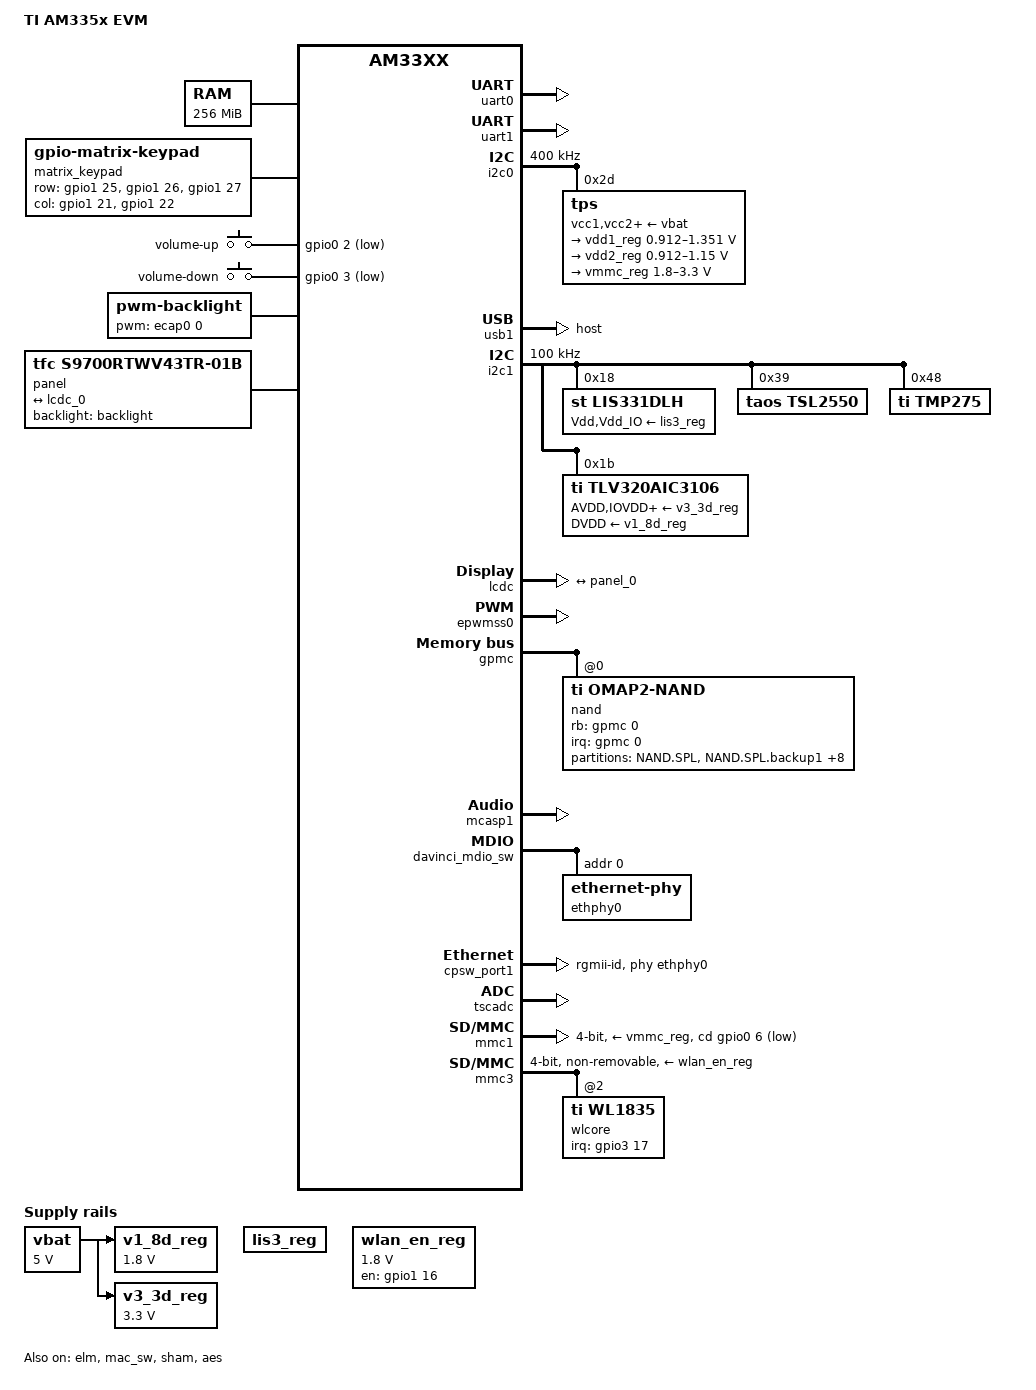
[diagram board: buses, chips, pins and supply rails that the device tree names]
// SPDX-License-Identifier: GPL-2.0-only
/*
 * Copyright (C) 2012 Texas Instruments Incorporated - https://www.ti.com/
 */
/dts-v1/;

#include "am33xx.dtsi"
#include <dt-bindings/interrupt-controller/irq.h>

/ {
	model = "TI AM335x EVM";
	compatible = "ti,am335x-evm", "ti,am33xx";

	cpus {
		cpu@0 {
			cpu0-supply = <&vdd1_reg>;
		};
	};

	memory@80000000 {
		device_type = "memory";
		reg = <0x80000000 0x10000000>; /* 256 MB */
	};

	chosen {
		stdout-path = &uart0;
	};

	vbat: fixedregulator0 {
		compatible = "regulator-fixed";
		regulator-name = "vbat";
		regulator-min-microvolt = <5000000>;
		regulator-max-microvolt = <5000000>;
		regulator-boot-on;
	};

	lis3_reg: fixedregulator1 {
		compatible = "regulator-fixed";
		regulator-name = "lis3_reg";
		regulator-boot-on;
	};

	wlan_en_reg: fixedregulator2 {
		compatible = "regulator-fixed";
		regulator-name = "wlan-en-regulator";
		regulator-min-microvolt = <1800000>;
		regulator-max-microvolt = <1800000>;

		/* WLAN_EN GPIO for this board - Bank1, pin16 */
		gpio = <&gpio1 16 0>;

		/* WLAN card specific delay */
		startup-delay-us = <70000>;
		enable-active-high;
	};

	/* TPS79501 */
	v1_8d_reg: fixedregulator-v1_8d {
		compatible = "regulator-fixed";
		regulator-name = "v1_8d";
		vin-supply = <&vbat>;
		regulator-min-microvolt = <1800000>;
		regulator-max-microvolt = <1800000>;
	};

	/* TPS79501 */
	v3_3d_reg: fixedregulator-v3_3d {
		compatible = "regulator-fixed";
		regulator-name = "v3_3d";
		vin-supply = <&vbat>;
		regulator-min-microvolt = <3300000>;
		regulator-max-microvolt = <3300000>;
	};

	matrix_keypad: matrix_keypad0 {
		compatible = "gpio-matrix-keypad";
		debounce-delay-ms = <5>;
		col-scan-delay-us = <2>;

		row-gpios = <&gpio1 25 GPIO_ACTIVE_HIGH		/* Bank1, pin25 */
			     &gpio1 26 GPIO_ACTIVE_HIGH		/* Bank1, pin26 */
			     &gpio1 27 GPIO_ACTIVE_HIGH>;	/* Bank1, pin27 */

		col-gpios = <&gpio1 21 GPIO_ACTIVE_HIGH		/* Bank1, pin21 */
			     &gpio1 22 GPIO_ACTIVE_HIGH>;	/* Bank1, pin22 */

		linux,keymap = <0x0000008b	/* MENU */
				0x0100009e	/* BACK */
				0x02000069	/* LEFT */
				0x0001006a	/* RIGHT */
				0x0101001c	/* ENTER */
				0x0201006c>;	/* DOWN */
	};

	gpio_keys: volume_keys0 {
		compatible = "gpio-keys";
		#address-cells = <1>;
		#size-cells = <0>;
		autorepeat;

		switch9 {
			label = "volume-up";
			linux,code = <115>;
			gpios = <&gpio0 2 GPIO_ACTIVE_LOW>;
			wakeup-source;
		};

		switch10 {
			label = "volume-down";
			linux,code = <114>;
			gpios = <&gpio0 3 GPIO_ACTIVE_LOW>;
			wakeup-source;
		};
	};

	backlight: backlight {
		compatible = "pwm-backlight";
		pwms = <&ecap0 0 50000 0>;
		brightness-levels = <0 51 53 56 62 75 101 152 255>;
		default-brightness-level = <8>;
	};

	panel {
		compatible = "tfc,s9700rtwv43tr-01b";

		pinctrl-names = "default";
		pinctrl-0 = <&lcd_pins_s0>;
		backlight = <&backlight>;

		port {
			panel_0: endpoint@0 {
				remote-endpoint = <&lcdc_0>;
			};
		};
	};

	sound {
		compatible = "simple-audio-card";
		simple-audio-card,name = "AM335x-EVM";
		simple-audio-card,widgets =
			"Headphone", "Headphone Jack",
			"Line", "Line In";
		simple-audio-card,routing =
			"Headphone Jack",	"HPLOUT",
			"Headphone Jack",	"HPROUT",
			"LINE1L",		"Line In",
			"LINE1R",		"Line In";
		simple-audio-card,format = "dsp_b";
		simple-audio-card,bitclock-master = <&sound_master>;
		simple-audio-card,frame-master = <&sound_master>;
		simple-audio-card,bitclock-inversion;

		simple-audio-card,cpu {
			sound-dai = <&mcasp1>;
		};

		sound_master: simple-audio-card,codec {
			sound-dai = <&tlv320aic3106>;
			system-clock-frequency = <12000000>;
		};
	};
};

&am33xx_pinmux {
	pinctrl-names = "default";
	pinctrl-0 = <&matrix_keypad_s0 &volume_keys_s0 &clkout2_pin>;

	matrix_keypad_s0: matrix_keypad_s0 {
		pinctrl-single,pins = <
			AM33XX_PADCONF(AM335X_PIN_GPMC_A5, PIN_OUTPUT_PULLDOWN, MUX_MODE7)	/* gpmc_a5.gpio1_21 */
			AM33XX_PADCONF(AM335X_PIN_GPMC_A6, PIN_OUTPUT_PULLDOWN, MUX_MODE7)	/* gpmc_a6.gpio1_22 */
			AM33XX_PADCONF(AM335X_PIN_GPMC_A9, PIN_INPUT_PULLDOWN, MUX_MODE7)	/* gpmc_a9.gpio1_25 */
			AM33XX_PADCONF(AM335X_PIN_GPMC_A10, PIN_INPUT_PULLDOWN, MUX_MODE7)	/* gpmc_a10.gpio1_26 */
			AM33XX_PADCONF(AM335X_PIN_GPMC_A11, PIN_INPUT_PULLDOWN, MUX_MODE7)	/* gpmc_a11.gpio1_27 */
		>;
	};

	volume_keys_s0: volume_keys_s0 {
		pinctrl-single,pins = <
			AM33XX_PADCONF(AM335X_PIN_SPI0_SCLK, PIN_INPUT_PULLDOWN, MUX_MODE7)	/* spi0_sclk.gpio0_2 */
			AM33XX_PADCONF(AM335X_PIN_SPI0_D0, PIN_INPUT_PULLDOWN, MUX_MODE7)	/* spi0_d0.gpio0_3 */
		>;
	};

	i2c0_pins: pinmux_i2c0_pins {
		pinctrl-single,pins = <
			AM33XX_PADCONF(AM335X_PIN_I2C0_SDA, PIN_INPUT_PULLUP, MUX_MODE0)	/* i2c0_sda.i2c0_sda */
			AM33XX_PADCONF(AM335X_PIN_I2C0_SCL, PIN_INPUT_PULLUP, MUX_MODE0)	/* i2c0_scl.i2c0_scl */
		>;
	};

	i2c1_pins: pinmux_i2c1_pins {
		pinctrl-single,pins = <
			AM33XX_PADCONF(AM335X_PIN_SPI0_D1, PIN_INPUT_PULLUP, MUX_MODE2)	/* spi0_d1.i2c1_sda */
			AM33XX_PADCONF(AM335X_PIN_SPI0_CS0, PIN_INPUT_PULLUP, MUX_MODE2)	/* spi0_cs0.i2c1_scl */
		>;
	};

	uart0_pins: pinmux_uart0_pins {
		pinctrl-single,pins = <
			AM33XX_PADCONF(AM335X_PIN_UART0_RXD, PIN_INPUT_PULLUP, MUX_MODE0)
			AM33XX_PADCONF(AM335X_PIN_UART0_TXD, PIN_OUTPUT_PULLDOWN, MUX_MODE0)
		>;
	};

	uart1_pins: pinmux_uart1_pins {
		pinctrl-single,pins = <
			AM33XX_PADCONF(AM335X_PIN_UART1_CTSN, PIN_INPUT, MUX_MODE0)
			AM33XX_PADCONF(AM335X_PIN_UART1_RTSN, PIN_OUTPUT_PULLDOWN, MUX_MODE0)
			AM33XX_PADCONF(AM335X_PIN_UART1_RXD, PIN_INPUT_PULLUP, MUX_MODE0)
			AM33XX_PADCONF(AM335X_PIN_UART1_TXD, PIN_OUTPUT_PULLDOWN, MUX_MODE0)
		>;
	};

	clkout2_pin: pinmux_clkout2_pin {
		pinctrl-single,pins = <
			AM33XX_PADCONF(AM335X_PIN_XDMA_EVENT_INTR1, PIN_OUTPUT_PULLDOWN, MUX_MODE3)	/* xdma_event_intr1.clkout2 */
		>;
	};

	nandflash_pins_s0: nandflash_pins_s0 {
		pinctrl-single,pins = <
			AM33XX_PADCONF(AM335X_PIN_GPMC_AD0, PIN_INPUT_PULLUP, MUX_MODE0)
			AM33XX_PADCONF(AM335X_PIN_GPMC_AD1, PIN_INPUT_PULLUP, MUX_MODE0)
			AM33XX_PADCONF(AM335X_PIN_GPMC_AD2, PIN_INPUT_PULLUP, MUX_MODE0)
			AM33XX_PADCONF(AM335X_PIN_GPMC_AD3, PIN_INPUT_PULLUP, MUX_MODE0)
			AM33XX_PADCONF(AM335X_PIN_GPMC_AD4, PIN_INPUT_PULLUP, MUX_MODE0)
			AM33XX_PADCONF(AM335X_PIN_GPMC_AD5, PIN_INPUT_PULLUP, MUX_MODE0)
			AM33XX_PADCONF(AM335X_PIN_GPMC_AD6, PIN_INPUT_PULLUP, MUX_MODE0)
			AM33XX_PADCONF(AM335X_PIN_GPMC_AD7, PIN_INPUT_PULLUP, MUX_MODE0)
			AM33XX_PADCONF(AM335X_PIN_GPMC_WAIT0, PIN_INPUT_PULLUP, MUX_MODE0)
			AM33XX_PADCONF(AM335X_PIN_GPMC_WPN, PIN_INPUT_PULLUP, MUX_MODE7)	/* gpmc_wpn.gpio0_31 */
			AM33XX_PADCONF(AM335X_PIN_GPMC_CSN0, PIN_OUTPUT, MUX_MODE0)
			AM33XX_PADCONF(AM335X_PIN_GPMC_ADVN_ALE, PIN_OUTPUT, MUX_MODE0)
			AM33XX_PADCONF(AM335X_PIN_GPMC_OEN_REN, PIN_OUTPUT, MUX_MODE0)
			AM33XX_PADCONF(AM335X_PIN_GPMC_WEN, PIN_OUTPUT, MUX_MODE0)
			AM33XX_PADCONF(AM335X_PIN_GPMC_BEN0_CLE, PIN_OUTPUT, MUX_MODE0)
		>;
	};

	ecap0_pins: backlight_pins {
		pinctrl-single,pins = <
			AM33XX_PADCONF(AM335X_PIN_ECAP0_IN_PWM0_OUT, 0x0, MUX_MODE0)
		>;
	};

	cpsw_default: cpsw_default {
		pinctrl-single,pins = <
			/* Slave 1 */
			AM33XX_PADCONF(AM335X_PIN_MII1_TX_EN, PIN_OUTPUT_PULLDOWN, MUX_MODE2)	/* mii1_txen.rgmii1_tctl */
			AM33XX_PADCONF(AM335X_PIN_MII1_RX_DV, PIN_INPUT_PULLDOWN, MUX_MODE2)	/* mii1_rxdv.rgmii1_rctl */
			AM33XX_PADCONF(AM335X_PIN_MII1_TXD3, PIN_OUTPUT_PULLDOWN, MUX_MODE2)	/* mii1_txd3.rgmii1_td3 */
			AM33XX_PADCONF(AM335X_PIN_MII1_TXD2, PIN_OUTPUT_PULLDOWN, MUX_MODE2)	/* mii1_txd2.rgmii1_td2 */
			AM33XX_PADCONF(AM335X_PIN_MII1_TXD1, PIN_OUTPUT_PULLDOWN, MUX_MODE2)	/* mii1_txd1.rgmii1_td1 */
			AM33XX_PADCONF(AM335X_PIN_MII1_TXD0, PIN_OUTPUT_PULLDOWN, MUX_MODE2)	/* mii1_txd0.rgmii1_td0 */
			AM33XX_PADCONF(AM335X_PIN_MII1_TX_CLK, PIN_OUTPUT_PULLDOWN, MUX_MODE2)	/* mii1_txclk.rgmii1_tclk */
			AM33XX_PADCONF(AM335X_PIN_MII1_RX_CLK, PIN_INPUT_PULLDOWN, MUX_MODE2)	/* mii1_rxclk.rgmii1_rclk */
			AM33XX_PADCONF(AM335X_PIN_MII1_RXD3, PIN_INPUT_PULLDOWN, MUX_MODE2)	/* mii1_rxd3.rgmii1_rd3 */
			AM33XX_PADCONF(AM335X_PIN_MII1_RXD2, PIN_INPUT_PULLDOWN, MUX_MODE2)	/* mii1_rxd2.rgmii1_rd2 */
			AM33XX_PADCONF(AM335X_PIN_MII1_RXD1, PIN_INPUT_PULLDOWN, MUX_MODE2)	/* mii1_rxd1.rgmii1_rd1 */
			AM33XX_PADCONF(AM335X_PIN_MII1_RXD0, PIN_INPUT_PULLDOWN, MUX_MODE2)	/* mii1_rxd0.rgmii1_rd0 */
		>;
	};

	cpsw_sleep: cpsw_sleep {
		pinctrl-single,pins = <
			/* Slave 1 reset value */
			AM33XX_PADCONF(AM335X_PIN_MII1_TX_EN, PIN_INPUT_PULLDOWN, MUX_MODE7)
			AM33XX_PADCONF(AM335X_PIN_MII1_RX_DV, PIN_INPUT_PULLDOWN, MUX_MODE7)
			AM33XX_PADCONF(AM335X_PIN_MII1_TXD3, PIN_INPUT_PULLDOWN, MUX_MODE7)
			AM33XX_PADCONF(AM335X_PIN_MII1_TXD2, PIN_INPUT_PULLDOWN, MUX_MODE7)
			AM33XX_PADCONF(AM335X_PIN_MII1_TXD1, PIN_INPUT_PULLDOWN, MUX_MODE7)
			AM33XX_PADCONF(AM335X_PIN_MII1_TXD0, PIN_INPUT_PULLDOWN, MUX_MODE7)
			AM33XX_PADCONF(AM335X_PIN_MII1_TX_CLK, PIN_INPUT_PULLDOWN, MUX_MODE7)
			AM33XX_PADCONF(AM335X_PIN_MII1_RX_CLK, PIN_INPUT_PULLDOWN, MUX_MODE7)
			AM33XX_PADCONF(AM335X_PIN_MII1_RXD3, PIN_INPUT_PULLDOWN, MUX_MODE7)
			AM33XX_PADCONF(AM335X_PIN_MII1_RXD2, PIN_INPUT_PULLDOWN, MUX_MODE7)
			AM33XX_PADCONF(AM335X_PIN_MII1_RXD1, PIN_INPUT_PULLDOWN, MUX_MODE7)
			AM33XX_PADCONF(AM335X_PIN_MII1_RXD0, PIN_INPUT_PULLDOWN, MUX_MODE7)
		>;
	};

	davinci_mdio_default: davinci_mdio_default {
		pinctrl-single,pins = <
			/* MDIO */
			AM33XX_PADCONF(AM335X_PIN_MDIO, PIN_INPUT_PULLUP | SLEWCTRL_FAST, MUX_MODE0)
			AM33XX_PADCONF(AM335X_PIN_MDC, PIN_OUTPUT_PULLUP, MUX_MODE0)
		>;
	};

	davinci_mdio_sleep: davinci_mdio_sleep {
		pinctrl-single,pins = <
			/* MDIO reset value */
			AM33XX_PADCONF(AM335X_PIN_MDIO, PIN_INPUT_PULLDOWN, MUX_MODE7)
			AM33XX_PADCONF(AM335X_PIN_MDC, PIN_INPUT_PULLDOWN, MUX_MODE7)
		>;
	};

	mmc1_pins: pinmux_mmc1_pins {
		pinctrl-single,pins = <
			AM33XX_PADCONF(AM335X_PIN_SPI0_CS1, PIN_INPUT, MUX_MODE7)		/* spi0_cs1.gpio0_6 */
			AM33XX_PADCONF(AM335X_PIN_MMC0_DAT0, PIN_INPUT_PULLUP, MUX_MODE0)
			AM33XX_PADCONF(AM335X_PIN_MMC0_DAT1, PIN_INPUT_PULLUP, MUX_MODE0)
			AM33XX_PADCONF(AM335X_PIN_MMC0_DAT2, PIN_INPUT_PULLUP, MUX_MODE0)
			AM33XX_PADCONF(AM335X_PIN_MMC0_DAT3, PIN_INPUT_PULLUP, MUX_MODE0)
			AM33XX_PADCONF(AM335X_PIN_MMC0_CMD, PIN_INPUT_PULLUP, MUX_MODE0)
			AM33XX_PADCONF(AM335X_PIN_MMC0_CLK, PIN_INPUT_PULLUP, MUX_MODE0)
			AM33XX_PADCONF(AM335X_PIN_MCASP0_ACLKR, PIN_INPUT, MUX_MODE4)		/* mcasp0_aclkr.mmc0_sdwp */
		>;
	};

	mmc3_pins: pinmux_mmc3_pins {
		pinctrl-single,pins = <
			AM33XX_PADCONF(AM335X_PIN_GPMC_A1, PIN_INPUT_PULLUP, MUX_MODE3)	/* gpmc_a1.mmc2_dat0, INPUT_PULLUP | MODE3 */
			AM33XX_PADCONF(AM335X_PIN_GPMC_A2, PIN_INPUT_PULLUP, MUX_MODE3)	/* gpmc_a2.mmc2_dat1, INPUT_PULLUP | MODE3 */
			AM33XX_PADCONF(AM335X_PIN_GPMC_A3, PIN_INPUT_PULLUP, MUX_MODE3)	/* gpmc_a3.mmc2_dat2, INPUT_PULLUP | MODE3 */
			AM33XX_PADCONF(AM335X_PIN_GPMC_BEN1, PIN_INPUT_PULLUP, MUX_MODE3)	/* gpmc_ben1.mmc2_dat3, INPUT_PULLUP | MODE3 */
			AM33XX_PADCONF(AM335X_PIN_GPMC_CSN3, PIN_INPUT_PULLUP, MUX_MODE3)	/* gpmc_csn3.mmc2_cmd, INPUT_PULLUP | MODE3 */
			AM33XX_PADCONF(AM335X_PIN_GPMC_CLK, PIN_INPUT_PULLUP, MUX_MODE3)	/* gpmc_clk.mmc2_clk, INPUT_PULLUP | MODE3 */
		>;
	};

	wlan_pins: pinmux_wlan_pins {
		pinctrl-single,pins = <
			AM33XX_PADCONF(AM335X_PIN_GPMC_A0, PIN_OUTPUT_PULLDOWN, MUX_MODE7)	/* gpmc_a0.gpio1_16 */
			AM33XX_PADCONF(AM335X_PIN_MCASP0_AHCLKR, PIN_INPUT, MUX_MODE7)		/* mcasp0_ahclkr.gpio3_17 */
			AM33XX_PADCONF(AM335X_PIN_MCASP0_AHCLKX, PIN_OUTPUT_PULLDOWN, MUX_MODE7)	/* mcasp0_ahclkx.gpio3_21 */
		>;
	};

	lcd_pins_s0: lcd_pins_s0 {
		pinctrl-single,pins = <
			AM33XX_PADCONF(AM335X_PIN_GPMC_AD8, PIN_OUTPUT, MUX_MODE1)		/* gpmc_ad8.lcd_data23 */
			AM33XX_PADCONF(AM335X_PIN_GPMC_AD9, PIN_OUTPUT, MUX_MODE1)		/* gpmc_ad9.lcd_data22 */
			AM33XX_PADCONF(AM335X_PIN_GPMC_AD10, PIN_OUTPUT, MUX_MODE1)		/* gpmc_ad10.lcd_data21 */
			AM33XX_PADCONF(AM335X_PIN_GPMC_AD11, PIN_OUTPUT, MUX_MODE1)		/* gpmc_ad11.lcd_data20 */
			AM33XX_PADCONF(AM335X_PIN_GPMC_AD12, PIN_OUTPUT, MUX_MODE1)		/* gpmc_ad12.lcd_data19 */
			AM33XX_PADCONF(AM335X_PIN_GPMC_AD13, PIN_OUTPUT, MUX_MODE1)		/* gpmc_ad13.lcd_data18 */
			AM33XX_PADCONF(AM335X_PIN_GPMC_AD14, PIN_OUTPUT, MUX_MODE1)		/* gpmc_ad14.lcd_data17 */
			AM33XX_PADCONF(AM335X_PIN_GPMC_AD15, PIN_OUTPUT, MUX_MODE1)		/* gpmc_ad15.lcd_data16 */
			AM33XX_PADCONF(AM335X_PIN_LCD_DATA0, PIN_OUTPUT, MUX_MODE0)
			AM33XX_PADCONF(AM335X_PIN_LCD_DATA1, PIN_OUTPUT, MUX_MODE0)
			AM33XX_PADCONF(AM335X_PIN_LCD_DATA2, PIN_OUTPUT, MUX_MODE0)
			AM33XX_PADCONF(AM335X_PIN_LCD_DATA3, PIN_OUTPUT, MUX_MODE0)
			AM33XX_PADCONF(AM335X_PIN_LCD_DATA4, PIN_OUTPUT, MUX_MODE0)
			AM33XX_PADCONF(AM335X_PIN_LCD_DATA5, PIN_OUTPUT, MUX_MODE0)
			AM33XX_PADCONF(AM335X_PIN_LCD_DATA6, PIN_OUTPUT, MUX_MODE0)
			AM33XX_PADCONF(AM335X_PIN_LCD_DATA7, PIN_OUTPUT, MUX_MODE0)
			AM33XX_PADCONF(AM335X_PIN_LCD_DATA8, PIN_OUTPUT, MUX_MODE0)
			AM33XX_PADCONF(AM335X_PIN_LCD_DATA9, PIN_OUTPUT, MUX_MODE0)
			AM33XX_PADCONF(AM335X_PIN_LCD_DATA10, PIN_OUTPUT, MUX_MODE0)
			AM33XX_PADCONF(AM335X_PIN_LCD_DATA11, PIN_OUTPUT, MUX_MODE0)
			AM33XX_PADCONF(AM335X_PIN_LCD_DATA12, PIN_OUTPUT, MUX_MODE0)
			AM33XX_PADCONF(AM335X_PIN_LCD_DATA13, PIN_OUTPUT, MUX_MODE0)
			AM33XX_PADCONF(AM335X_PIN_LCD_DATA14, PIN_OUTPUT, MUX_MODE0)
			AM33XX_PADCONF(AM335X_PIN_LCD_DATA15, PIN_OUTPUT, MUX_MODE0)
			AM33XX_PADCONF(AM335X_PIN_LCD_VSYNC, PIN_OUTPUT, MUX_MODE0)
			AM33XX_PADCONF(AM335X_PIN_LCD_HSYNC, PIN_OUTPUT, MUX_MODE0)
			AM33XX_PADCONF(AM335X_PIN_LCD_PCLK, PIN_OUTPUT, MUX_MODE0)
			AM33XX_PADCONF(AM335X_PIN_LCD_AC_BIAS_EN, PIN_OUTPUT, MUX_MODE0)
		>;
	};

	mcasp1_pins: mcasp1_pins {
		pinctrl-single,pins = <
			AM33XX_PADCONF(AM335X_PIN_MII1_CRS, PIN_INPUT_PULLDOWN, MUX_MODE4) /* mii1_crs.mcasp1_aclkx */
			AM33XX_PADCONF(AM335X_PIN_MII1_RX_ER, PIN_INPUT_PULLDOWN, MUX_MODE4) /* mii1_rxerr.mcasp1_fsx */
			AM33XX_PADCONF(AM335X_PIN_MII1_COL, PIN_OUTPUT_PULLDOWN, MUX_MODE4) /* mii1_col.mcasp1_axr2 */
			AM33XX_PADCONF(AM335X_PIN_RMII1_REF_CLK, PIN_INPUT_PULLDOWN, MUX_MODE4) /* rmii1_ref_clk.mcasp1_axr3 */
		>;
	};

	mcasp1_pins_sleep: mcasp1_pins_sleep {
		pinctrl-single,pins = <
			AM33XX_PADCONF(AM335X_PIN_MII1_CRS, PIN_INPUT_PULLDOWN, MUX_MODE7)
			AM33XX_PADCONF(AM335X_PIN_MII1_RX_ER, PIN_INPUT_PULLDOWN, MUX_MODE7)
			AM33XX_PADCONF(AM335X_PIN_MII1_COL, PIN_INPUT_PULLDOWN, MUX_MODE7)
			AM33XX_PADCONF(AM335X_PIN_RMII1_REF_CLK, PIN_INPUT_PULLDOWN, MUX_MODE7)
		>;
	};

	dcan1_pins_default: dcan1_pins_default {
		pinctrl-single,pins = <
			AM33XX_PADCONF(AM335X_PIN_UART0_CTSN, PIN_OUTPUT, MUX_MODE2) /* uart0_ctsn.d_can1_tx */
			AM33XX_PADCONF(AM335X_PIN_UART0_RTSN, PIN_INPUT_PULLDOWN, MUX_MODE2) /* uart0_rtsn.d_can1_rx */
		>;
	};
};

&uart0 {
	pinctrl-names = "default";
	pinctrl-0 = <&uart0_pins>;

	status = "okay";
};

&uart1 {
	pinctrl-names = "default";
	pinctrl-0 = <&uart1_pins>;

	status = "okay";
};

&i2c0 {
	pinctrl-names = "default";
	pinctrl-0 = <&i2c0_pins>;

	status = "okay";
	clock-frequency = <400000>;

	tps: tps@2d {
		reg = <0x2d>;
	};
};

&usb1 {
	dr_mode = "host";
};

&i2c1 {
	pinctrl-names = "default";
	pinctrl-0 = <&i2c1_pins>;

	status = "okay";
	clock-frequency = <100000>;

	lis331dlh: lis331dlh@18 {
		compatible = "st,lis331dlh", "st,lis3lv02d";
		reg = <0x18>;
		Vdd-supply = <&lis3_reg>;
		Vdd_IO-supply = <&lis3_reg>;

		st,click-single-x;
		st,click-single-y;
		st,click-single-z;
		st,click-thresh-x = <10>;
		st,click-thresh-y = <10>;
		st,click-thresh-z = <10>;
		st,irq1-click;
		st,irq2-click;
		st,wakeup-x-lo;
		st,wakeup-x-hi;
		st,wakeup-y-lo;
		st,wakeup-y-hi;
		st,wakeup-z-lo;
		st,wakeup-z-hi;
		st,min-limit-x = <120>;
		st,min-limit-y = <120>;
		st,min-limit-z = <140>;
		st,max-limit-x = <550>;
		st,max-limit-y = <550>;
		st,max-limit-z = <750>;
	};

	tsl2550: tsl2550@39 {
		compatible = "taos,tsl2550";
		reg = <0x39>;
	};

	tmp275: tmp275@48 {
		compatible = "ti,tmp275";
		reg = <0x48>;
	};

	tlv320aic3106: tlv320aic3106@1b {
		#sound-dai-cells = <0>;
		compatible = "ti,tlv320aic3106";
		reg = <0x1b>;
		status = "okay";

		/* Regulators */
		AVDD-supply = <&v3_3d_reg>;
		IOVDD-supply = <&v3_3d_reg>;
		DRVDD-supply = <&v3_3d_reg>;
		DVDD-supply = <&v1_8d_reg>;
	};
};

&lcdc {
	status = "okay";

	blue-and-red-wiring = "crossed";

	port {
		lcdc_0: endpoint@0 {
			remote-endpoint = <&panel_0>;
		};
	};
};

&elm {
	status = "okay";
};

&epwmss0 {
	status = "okay";

	ecap0: ecap@100 {
		status = "okay";
		pinctrl-names = "default";
		pinctrl-0 = <&ecap0_pins>;
	};
};

&gpmc {
	status = "okay";
	pinctrl-names = "default";
	pinctrl-0 = <&nandflash_pins_s0>;
	ranges = <0 0 0x08000000 0x1000000>;	/* CS0: 16MB for NAND */
	nand@0,0 {
		compatible = "ti,omap2-nand";
		reg = <0 0 4>; /* CS0, offset 0, IO size 4 */
		interrupt-parent = <&gpmc>;
		interrupts = <0 IRQ_TYPE_NONE>, /* fifoevent */
			     <1 IRQ_TYPE_NONE>;	/* termcount */
		rb-gpios = <&gpmc 0 GPIO_ACTIVE_HIGH>; /* gpmc_wait0 */
		ti,nand-xfer-type = "prefetch-dma";
		ti,nand-ecc-opt = "bch8";
		ti,elm-id = <&elm>;
		nand-bus-width = <8>;
		gpmc,device-width = <1>;
		gpmc,sync-clk-ps = <0>;
		gpmc,cs-on-ns = <0>;
		gpmc,cs-rd-off-ns = <44>;
		gpmc,cs-wr-off-ns = <44>;
		gpmc,adv-on-ns = <6>;
		gpmc,adv-rd-off-ns = <34>;
		gpmc,adv-wr-off-ns = <44>;
		gpmc,we-on-ns = <0>;
		gpmc,we-off-ns = <40>;
		gpmc,oe-on-ns = <0>;
		gpmc,oe-off-ns = <54>;
		gpmc,access-ns = <64>;
		gpmc,rd-cycle-ns = <82>;
		gpmc,wr-cycle-ns = <82>;
		gpmc,bus-turnaround-ns = <0>;
		gpmc,cycle2cycle-delay-ns = <0>;
		gpmc,clk-activation-ns = <0>;
		gpmc,wr-access-ns = <40>;
		gpmc,wr-data-mux-bus-ns = <0>;
		/* MTD partition table */
		/* All SPL-* partitions are sized to minimal length
		 * which can be independently programmable. For
		 * NAND flash this is equal to size of erase-block */
		#address-cells = <1>;
		#size-cells = <1>;
		partition@0 {
			label = "NAND.SPL";
			reg = <0x00000000 0x000020000>;
		};
		partition@1 {
			label = "NAND.SPL.backup1";
			reg = <0x00020000 0x00020000>;
		};
		partition@2 {
			label = "NAND.SPL.backup2";
			reg = <0x00040000 0x00020000>;
		};
		partition@3 {
			label = "NAND.SPL.backup3";
			reg = <0x00060000 0x00020000>;
		};
		partition@4 {
			label = "NAND.u-boot-spl-os";
			reg = <0x00080000 0x00040000>;
		};
		partition@5 {
			label = "NAND.u-boot";
			reg = <0x000C0000 0x00100000>;
		};
		partition@6 {
			label = "NAND.u-boot-env";
			reg = <0x001C0000 0x00020000>;
		};
		partition@7 {
			label = "NAND.u-boot-env.backup1";
			reg = <0x001E0000 0x00020000>;
		};
		partition@8 {
			label = "NAND.kernel";
			reg = <0x00200000 0x00800000>;
		};
		partition@9 {
			label = "NAND.file-system";
			reg = <0x00A00000 0x0F600000>;
		};
	};
};

#include "tps65910.dtsi"

&mcasp1 {
	#sound-dai-cells = <0>;
	pinctrl-names = "default", "sleep";
	pinctrl-0 = <&mcasp1_pins>;
	pinctrl-1 = <&mcasp1_pins_sleep>;

	status = "okay";

	op-mode = <0>;          /* MCASP_IIS_MODE */
	tdm-slots = <2>;
	/* 4 serializers */
	serial-dir = <  /* 0: INACTIVE, 1: TX, 2: RX */
		0 0 1 2
	>;
	tx-num-evt = <32>;
	rx-num-evt = <32>;
};

&tps {
	vcc1-supply = <&vbat>;
	vcc2-supply = <&vbat>;
	vcc3-supply = <&vbat>;
	vcc4-supply = <&vbat>;
	vcc5-supply = <&vbat>;
	vcc6-supply = <&vbat>;
	vcc7-supply = <&vbat>;
	vccio-supply = <&vbat>;

	regulators {
		vrtc_reg: regulator@0 {
			regulator-always-on;
		};

		vio_reg: regulator@1 {
			regulator-always-on;
		};

		vdd1_reg: regulator@2 {
			/* VDD_MPU voltage limits 0.95V - 1.26V with +/-4% tolerance */
			regulator-name = "vdd_mpu";
			regulator-min-microvolt = <912500>;
			regulator-max-microvolt = <1351500>;
			regulator-boot-on;
			regulator-always-on;
		};

		vdd2_reg: regulator@3 {
			/* VDD_CORE voltage limits 0.95V - 1.1V with +/-4% tolerance */
			regulator-name = "vdd_core";
			regulator-min-microvolt = <912500>;
			regulator-max-microvolt = <1150000>;
			regulator-boot-on;
			regulator-always-on;
		};

		vdd3_reg: regulator@4 {
			regulator-always-on;
		};

		vdig1_reg: regulator@5 {
			regulator-always-on;
		};

		vdig2_reg: regulator@6 {
			regulator-always-on;
		};

		vpll_reg: regulator@7 {
			regulator-always-on;
		};

		vdac_reg: regulator@8 {
			regulator-always-on;
		};

		vaux1_reg: regulator@9 {
			regulator-always-on;
		};

		vaux2_reg: regulator@10 {
			regulator-always-on;
		};

		vaux33_reg: regulator@11 {
			regulator-always-on;
		};

		vmmc_reg: regulator@12 {
			regulator-min-microvolt = <1800000>;
			regulator-max-microvolt = <3300000>;
			regulator-always-on;
		};
	};
};

&mac_sw {
	pinctrl-names = "default", "sleep";
	pinctrl-0 = <&cpsw_default>;
	pinctrl-1 = <&cpsw_sleep>;
	status = "okay";
};

&davinci_mdio_sw {
	pinctrl-names = "default", "sleep";
	pinctrl-0 = <&davinci_mdio_default>;
	pinctrl-1 = <&davinci_mdio_sleep>;

	ethphy0: ethernet-phy@0 {
		reg = <0>;
	};
};

&cpsw_port1 {
	phy-handle = <&ethphy0>;
	phy-mode = "rgmii-id";
	ti,dual-emac-pvid = <1>;
};

&cpsw_port2 {
	 status = "disabled";
};

&tscadc {
	status = "okay";
	tsc {
		ti,wires = <4>;
		ti,x-plate-resistance = <200>;
		ti,coordinate-readouts = <5>;
		ti,wire-config = <0x00 0x11 0x22 0x33>;
		ti,charge-delay = <0x400>;
	};

	adc {
		ti,adc-channels = <4 5 6 7>;
	};
};

&mmc1 {
	status = "okay";
	vmmc-supply = <&vmmc_reg>;
	bus-width = <4>;
	pinctrl-names = "default";
	pinctrl-0 = <&mmc1_pins>;
	cd-gpios = <&gpio0 6 GPIO_ACTIVE_LOW>;
};

&mmc3 {
	/* these are on the crossbar and are outlined in the
	   xbar-event-map element */
	dmas = <&edma_xbar 12 0 1
		&edma_xbar 13 0 2>;
	dma-names = "tx", "rx";
	status = "okay";
	vmmc-supply = <&wlan_en_reg>;
	bus-width = <4>;
	pinctrl-names = "default";
	pinctrl-0 = <&mmc3_pins &wlan_pins>;
	non-removable;
	cap-power-off-card;
	keep-power-in-suspend;

	#address-cells = <1>;
	#size-cells = <0>;
	wlcore: wlcore@0 {
		compatible = "ti,wl1835";
		reg = <2>;
		interrupt-parent = <&gpio3>;
		interrupts = <17 IRQ_TYPE_EDGE_RISING>;
	};
};

&sham {
	status = "okay";
};

&aes {
	status = "okay";
};

&dcan1 {
	status = "disabled";	/* Enable only if Profile 1 is selected */
	pinctrl-names = "default";
	pinctrl-0 = <&dcan1_pins_default>;
};

&rtc {
	clocks = <&clk_32768_ck>, <&clk_24mhz_clkctrl AM3_CLK_24MHZ_CLKDIV32K_CLKCTRL 0>;
	clock-names = "ext-clk", "int-clk";
};
